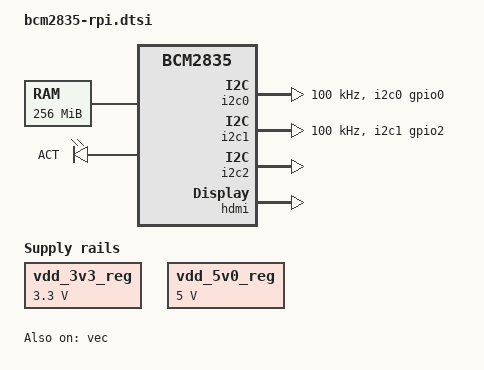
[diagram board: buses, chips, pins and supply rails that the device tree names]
#include <dt-bindings/power/raspberrypi-power.h>

/ {
	memory@0 {
		device_type = "memory";
		reg = <0 0x10000000>;
	};

	leds {
		compatible = "gpio-leds";

		act {
			label = "ACT";
			default-state = "keep";
			linux,default-trigger = "heartbeat";
		};
	};

	soc {
		firmware: firmware {
			compatible = "raspberrypi,bcm2835-firmware", "simple-bus";
			mboxes = <&mailbox>;
		};

		power: power {
			compatible = "raspberrypi,bcm2835-power";
			firmware = <&firmware>;
			#power-domain-cells = <1>;
		};

		vchiq: mailbox@7e00b840 {
			compatible = "brcm,bcm2835-vchiq";
			reg = <0x7e00b840 0x3c>;
			interrupts = <0 2>;
		};
	};

	vdd_3v3_reg: fixedregulator_3v3 {
		compatible = "regulator-fixed";
		regulator-name = "3v3";
		regulator-min-microvolt = <3300000>;
		regulator-max-microvolt = <3300000>;
		regulator-always-on;
	};

	vdd_5v0_reg: fixedregulator_5v0 {
		compatible = "regulator-fixed";
		regulator-name = "5v0";
		regulator-min-microvolt = <5000000>;
		regulator-max-microvolt = <5000000>;
		regulator-always-on;
	};
};

&gpio {
	pinctrl-names = "default";

	gpioout: gpioout {
		brcm,pins = <6>;
		brcm,function = <BCM2835_FSEL_GPIO_OUT>;
	};

	alt0: alt0 {
		brcm,pins = <4 5 7 8 9 10 11>;
		brcm,function = <BCM2835_FSEL_ALT0>;
	};
};

&i2c0 {
	pinctrl-names = "default";
	pinctrl-0 = <&i2c0_gpio0>;
	status = "okay";
	clock-frequency = <100000>;
};

&i2c1 {
	pinctrl-names = "default";
	pinctrl-0 = <&i2c1_gpio2>;
	status = "okay";
	clock-frequency = <100000>;
};

&i2c2 {
	status = "okay";
};

&usb {
	power-domains = <&power RPI_POWER_DOMAIN_USB>;
};

&hdmi {
	power-domains = <&power RPI_POWER_DOMAIN_HDMI>;
	status = "okay";
};

&v3d {
	power-domains = <&power RPI_POWER_DOMAIN_V3D>;
};

&vec {
	power-domains = <&power RPI_POWER_DOMAIN_VEC>;
	status = "okay";
};

&dsi0 {
	power-domains = <&power RPI_POWER_DOMAIN_DSI0>;
};

&dsi1 {
	power-domains = <&power RPI_POWER_DOMAIN_DSI1>;
};

&csi0 {
	power-domains = <&power RPI_POWER_DOMAIN_UNICAM0>;
};

&csi1 {
	power-domains = <&power RPI_POWER_DOMAIN_UNICAM1>;
};
